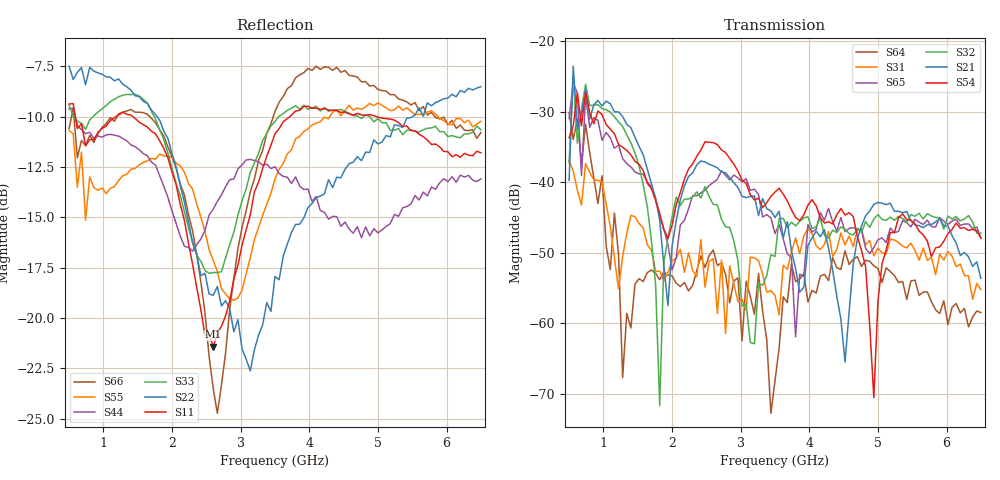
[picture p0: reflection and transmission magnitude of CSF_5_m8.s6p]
!Keysight Technologies,M9804A,MY58100912,A.14.10.03
!Date: Thursday, April 27, 2023 10:28:33
!Correction: S11(C  6-Port  )
!S12(C  6-Port  )
!S13(C  6-Port  )
!S14(C  6-Port  )
!S15(C  6-Port  )
!S16(C  6-Port  )
!S21(C  6-Port  )
!S22(C  6-Port  )
!S23(C  6-Port  )
!S24(C  6-Port  )
!S25(C  6-Port  )
!S26(C  6-Port  )
!S31(C  6-Port  )
!S32(C  6-Port  )
!S33(C  6-Port  )
!S34(C  6-Port  )
!S35(C  6-Port  )
!S36(C  6-Port  )
!S41(C  6-Port  )
!S42(C  6-Port  )
!S43(C  6-Port  )
!S44(C  6-Port  )
!S45(C  6-Port  )
!S46(C  6-Port  )
!S51(C  6-Port  )
!S52(C  6-Port  )
!S53(C  6-Port  )
!S54(C  6-Port  )
!S55(C  6-Port  )
!S56(C  6-Port  )
!S61(C  6-Port  )
!S62(C  6-Port  )
!S63(C  6-Port  )
!S64(C  6-Port  )
!S65(C  6-Port  )
!S66(C  6-Port  )
!S6P File: Measurement: :
# Hz S  RI  R 50
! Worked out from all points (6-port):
!   101 points, 500 MHz to 6.5 GHz, reference 50 ohm
!   strongest paths, dB at 500 MHz, 2 GHz, 3.5 GHz, 5 GHz, 6.5 GHz:
!     S54: -33.7, -46.1, -41.4, -56.9, -47.9
!     S21: -39.7, -49.1, -45.0, -42.8, -53.6
!     S32: -37.2, -44.9, -50.5, -44.6, -47.2
!     S65: -30.9, -52.4, -47.3, -48.1, -47.9
!     S31: -36.9, -51.1, -56.0, -49.3, -55.2
!     S64: -30.1, -53.3, -68.1, -52.2, -58.5
!   lowest |S11| = -21.4 dB at 2.6 GHz (marker M1), VSWR 1.19, Z = 42.5 + j2.26 ohm
!   |S11| at or under -10 dB: 591.2 MHz to 1.184 GHz (592.4 MHz wide, 66.8 % of centre); 1.428 GHz to 3.715 GHz (2.287 GHz wide, 88.9 % of centre); 4.976 GHz to end of sweep
